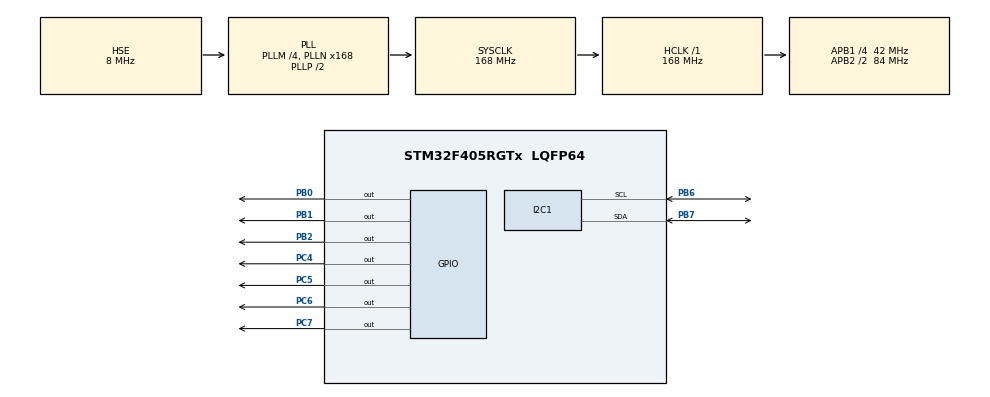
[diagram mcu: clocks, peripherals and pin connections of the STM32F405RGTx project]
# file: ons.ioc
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I2C1.I2C_Mode=I2C_Fast
Mcu.Family=STM32F4
Mcu.Name=STM32F405RGTx
Mcu.Package=LQFP64
NVIC.PriorityGroup=NVIC_PRIORITYGROUP_4
PA13.Mode=Serial_Wire
PA13.Signal=SYS_JTMS-SWDIO
PA14.Mode=Serial_Wire
PA14.Signal=SYS_JTCK-SWCLK
PB0.Signal=GPIO_Output
PB1.Signal=GPIO_Output
PB2.Signal=GPIO_Output
PB6.Mode=I2C
PB6.Signal=I2C1_SCL
PB7.Mode=I2C
PB7.Signal=I2C1_SDA
PC4.Signal=GPIO_Output
PC5.Signal=GPIO_Output
PC6.Signal=GPIO_Output
PC7.Signal=GPIO_Output
PH0-OSC_IN.Mode=HSE-External-Oscillator
PH0-OSC_IN.Signal=RCC_OSC_IN
PH1-OSC_OUT.Mode=HSE-External-Oscillator
PH1-OSC_OUT.Signal=RCC_OSC_OUT
ProjectManager.HeapSize=0x200
ProjectManager.StackSize=0x400
ProjectManager.TargetToolchain=EWARM V8.32
RCC.48MHZClocksFreq_Value=84000000
RCC.AHBFreq_Value=168000000
RCC.APB1CLKDivider=RCC_HCLK_DIV4
RCC.APB1Freq_Value=42000000
RCC.APB1TimFreq_Value=84000000
RCC.APB2CLKDivider=RCC_HCLK_DIV2
RCC.APB2Freq_Value=84000000
RCC.APB2TimFreq_Value=168000000
RCC.CortexFreq_Value=168000000
RCC.HCLKFreq_Value=168000000
RCC.HSE_VALUE=8000000
RCC.HSI_VALUE=16000000
RCC.LSE_VALUE=32768
RCC.PLLM=4
RCC.PLLN=168
RCC.PLLSourceVirtual=RCC_PLLSOURCE_HSE
RCC.SYSCLKFreq_VALUE=168000000
RCC.SYSCLKSource=RCC_SYSCLKSOURCE_PLLCLK
RCC.VCOOutputFreq_Value=336000000
board=custom

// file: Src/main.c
/* USER CODE BEGIN Header */
/**
  ******************************************************************************
  * @file           : main.c
  * @brief          : Main program body
  ******************************************************************************
  * @attention
  *
  * <h2><center>&copy; Copyright (c) 2020 STMicroelectronics.
  * All rights reserved.</center></h2>
  *
  * This software component is licensed by ST under BSD 3-Clause license,
  * the "License"; You may not use this file except in compliance with the
  * License. You may obtain a copy of the License at:
  *                        opensource.org/licenses/BSD-3-Clause
  *
  ******************************************************************************
  */
/* USER CODE END Header */

#include "main.h"
#include "i2c.h"
#include "gpio.h"

/* USER CODE BEGIN Includes */
#include "lcd.h"
#include "stdio.h"
/* USER CODE END Includes */

/* USER CODE BEGIN PD */
#define SHT2x_ADDR              0x40<<1
#define SHT2x_HOLD_MASTER_T     0xE3
#define SHT2x_HOLD_MASTER_RH    0xE5
#define SHT2x_NOHOLD_MASTER_T   0xF3
#define SHT2x_NOHOLD_MASTER_RH  0xF5
#define SHT2x_WRITE_USER_REG    0xE6
#define SHT2x_READ_USER_REG     0xE7
#define SHT2x_SOFT_RESET        0xFE
/* USER CODE END PD */

/* USER CODE BEGIN PV */
uint8_t i2cData[2];     //i2c데이터 받아옴
uint16_t val = 0;
uint8_t mode;
float TEMP, HUMI; //온습도 받아옴
char str[16];   //lcd에 출력도와줌
/* USER CODE END PV */

void SystemClock_Config(void);

int main(void)
{

  /* MCU Configuration--------------------------------------------------------*/

  /* Reset of all peripherals, Initializes the Flash interface and the Systick. */
  HAL_Init();

  /* Configure the system clock */
  SystemClock_Config();

  /* Initialize all configured peripherals */
  MX_GPIO_Init();
  MX_I2C1_Init();

  /* Infinite loop */
  /* USER CODE BEGIN WHILE */
  while (1)
  {
    mode = SHT2x_NOHOLD_MASTER_T;       //마스터온도를 사용하기 위해 설정 DEFINE한 명령사용
    HAL_I2C_Master_Transmit(&hi2c1, SHT2x_ADDR, &mode, 1, 10);           //마스터가 먼저 보냄
    HAL_Delay(100);
    HAL_I2C_Master_Receive(&hi2c1, SHT2x_ADDR, i2cData, 2, 10);
    val = i2cData[0] << 8 | i2cData[1];
    TEMP = -46.85 + 175.72 * ((float)val / 65536);
    lcdGotoXY(0,0);
    sprintf(str, "TEMP : %5.2lf", TEMP);
    lcdPrint(str);

    mode = SHT2x_NOHOLD_MASTER_RH;
    HAL_I2C_Master_Transmit(&hi2c1, SHT2x_ADDR, &mode, 1, 10);
    HAL_Delay(100);
    HAL_I2C_Master_Receive(&hi2c1, SHT2x_ADDR, i2cData, 2, 10);
    val = i2cData[0] << 8 | i2cData[1];
    HUMI = -6 + 125 * ((float)val / 65536);
    lcdGotoXY(0, 1);
    sprintf(str, "HUMI : %5.2lf", HUMI);
    lcdPrint(str);

    /* USER CODE END WHILE */

  }
}

void SystemClock_Config(void)
{
  RCC_OscInitTypeDef RCC_OscInitStruct = {0};
  RCC_ClkInitTypeDef RCC_ClkInitStruct = {0};

  /** Configure the main internal regulator output voltage
  */
  __HAL_RCC_PWR_CLK_ENABLE();
  __HAL_PWR_VOLTAGESCALING_CONFIG(PWR_REGULATOR_VOLTAGE_SCALE1);
  /** Initializes the CPU, AHB and APB busses clocks
  */
  RCC_OscInitStruct.OscillatorType = RCC_OSCILLATORTYPE_HSE;
  RCC_OscInitStruct.HSEState = RCC_HSE_ON;
  RCC_OscInitStruct.PLL.PLLState = RCC_PLL_ON;
  RCC_OscInitStruct.PLL.PLLSource = RCC_PLLSOURCE_HSE;
  RCC_OscInitStruct.PLL.PLLM = 4;
  RCC_OscInitStruct.PLL.PLLN = 168;
  RCC_OscInitStruct.PLL.PLLP = RCC_PLLP_DIV2;
  RCC_OscInitStruct.PLL.PLLQ = 4;
  if (HAL_RCC_OscConfig(&RCC_OscInitStruct) != HAL_OK)
  {
    Error_Handler();
  }
  /** Initializes the CPU, AHB and APB busses clocks
  */
  RCC_ClkInitStruct.ClockType = RCC_CLOCKTYPE_HCLK|RCC_CLOCKTYPE_SYSCLK
                              |RCC_CLOCKTYPE_PCLK1|RCC_CLOCKTYPE_PCLK2;
  RCC_ClkInitStruct.SYSCLKSource = RCC_SYSCLKSOURCE_PLLCLK;
  RCC_ClkInitStruct.AHBCLKDivider = RCC_SYSCLK_DIV1;
  RCC_ClkInitStruct.APB1CLKDivider = RCC_HCLK_DIV4;
  RCC_ClkInitStruct.APB2CLKDivider = RCC_HCLK_DIV2;

  if (HAL_RCC_ClockConfig(&RCC_ClkInitStruct, FLASH_LATENCY_5) != HAL_OK)
  {
    Error_Handler();
  }
}

void Error_Handler(void)
{
}

/************************ (C) COPYRIGHT STMicroelectronics *****END OF FILE****/
